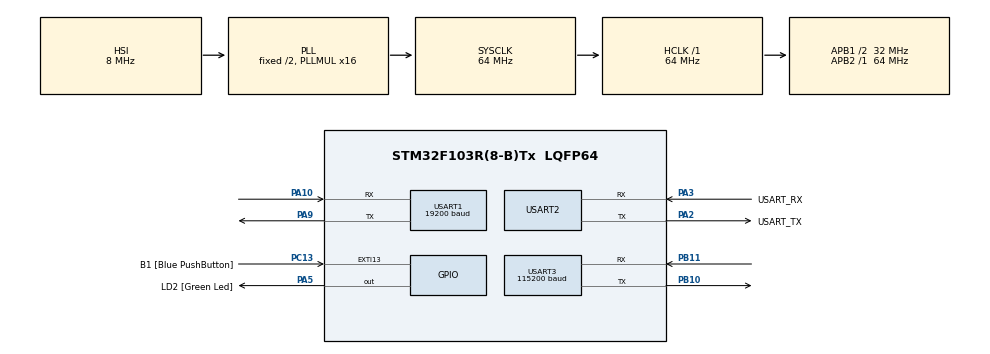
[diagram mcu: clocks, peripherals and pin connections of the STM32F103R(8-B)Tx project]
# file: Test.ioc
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Mcu.Family=STM32F1
Mcu.Name=STM32F103R(8-B)Tx
Mcu.Package=LQFP64
NVIC.EXTI15_10_IRQn=true\:0\:0\:false\:false\:true\:true\:true\:true
NVIC.PriorityGroup=NVIC_PRIORITYGROUP_4
PA10.Mode=Asynchronous
PA10.Signal=USART1_RX
PA13.GPIO_Label=TMS
PA13.Mode=Serial_Wire
PA13.Signal=SYS_JTMS-SWDIO
PA14.GPIO_Label=TCK
PA14.Mode=Serial_Wire
PA14.Signal=SYS_JTCK-SWCLK
PA2.GPIO_Label=USART_TX
PA2.GPIO_Mode=GPIO_MODE_AF_PP
PA2.GPIO_PuPd=GPIO_NOPULL
PA2.GPIO_Speed=GPIO_SPEED_FREQ_LOW
PA2.Mode=Asynchronous
PA2.Signal=USART2_TX
PA3.GPIO_Label=USART_RX
PA3.GPIO_Mode=GPIO_MODE_AF_PP
PA3.GPIO_PuPd=GPIO_NOPULL
PA3.GPIO_Speed=GPIO_SPEED_FREQ_LOW
PA3.Mode=Asynchronous
PA3.Signal=USART2_RX
PA5.GPIO_Label=LD2 [Green Led]
PA5.GPIO_ModeDefaultOutputPP=GPIO_MODE_OUTPUT_PP
PA5.GPIO_PuPd=GPIO_NOPULL
PA5.GPIO_Speed=GPIO_SPEED_FREQ_LOW
PA5.Signal=GPIO_Output
PA9.Mode=Asynchronous
PA9.Signal=USART1_TX
PB10.Mode=Asynchronous
PB10.Signal=USART3_TX
PB11.Mode=Asynchronous
PB11.Signal=USART3_RX
PB3.GPIO_Label=SWO
PB3.Signal=SYS_JTDO-TRACESWO
PC13-TAMPER-RTC.GPIO_Label=B1 [Blue PushButton]
PC13-TAMPER-RTC.GPIO_PuPd=GPIO_NOPULL
PC13-TAMPER-RTC.Signal=GPXTI13
PC14-OSC32_IN.Mode=LSE-External-Oscillator
PC14-OSC32_IN.Signal=RCC_OSC32_IN
PC15-OSC32_OUT.Mode=LSE-External-Oscillator
PC15-OSC32_OUT.Signal=RCC_OSC32_OUT
PD0-OSC_IN.Mode=HSE-External-Clock-Source
PD0-OSC_IN.Signal=RCC_OSC_IN
PD1-OSC_OUT.Mode=HSE-External-Clock-Source
PD1-OSC_OUT.Signal=RCC_OSC_OUT
ProjectManager.HeapSize=0x200
ProjectManager.StackSize=0x400
ProjectManager.TargetToolchain=STM32CubeIDE
RCC.AHBFreq_Value=64000000
RCC.APB1CLKDivider=RCC_HCLK_DIV2
RCC.APB1Freq_Value=32000000
RCC.APB1TimFreq_Value=64000000
RCC.APB2Freq_Value=64000000
RCC.APB2TimFreq_Value=64000000
RCC.HCLKFreq_Value=64000000
RCC.PLLMUL=RCC_PLL_MUL16
RCC.RTCClockSelection=RCC_RTCCLKSOURCE_LSE
RCC.SYSCLKFreq_VALUE=64000000
RCC.SYSCLKSource=RCC_SYSCLKSOURCE_PLLCLK
RCC.USBFreq_Value=64000000
USART1.BaudRate=19200
USART1.VirtualMode=VM_ASYNC
USART2.VirtualMode=VM_ASYNC
USART3.BaudRate=115200
USART3.VirtualMode=VM_ASYNC
board=NUCLEO-F103RB

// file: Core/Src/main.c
/* USER CODE BEGIN Header */
/**
  ******************************************************************************
  \author Dillon Chew Zhi Yuan
  \date 26-3-22
  * @file           : main.c
  * @brief          : Main program body
  ******************************************************************************
  * @attention
  *
  * Copyright (c) 2022 STMicroelectronics.
  * All rights reserved.
  *
  * This software is licensed under terms that can be found in the LICENSE file
  * in the root directory of this software component.
  * If no LICENSE file comes with this software, it is provided AS-IS.
  *
  ******************************************************************************
  */
/* USER CODE END Header */
#include "main.h"

/* USER CODE BEGIN Includes */
#include "structures.h"
/* USER CODE END Includes */

/* USER CODE BEGIN PD */
#define PIXY_TYPE_REPONSE_ERROR 			 0x03
#define PIXY_TYPE_REQUEST_VERSION            0x0e
#define PIXY_TYPE_REQUEST_VERSION            0x0e
#define PIXY_RESULT_OK                       0
#define PIXY_RESULT_ERROR                    -1
#define PIXY_RESULT_BUSY                     -2
#define key									 0xff
#define MAX_SIGNATURE 						 7
#define CAM_X								 158 //centerpoint of the entire frame
#define CAM_Y								 104 //centerpoint of the entire frame
#define commkey                              0x7F
#define header                               0x7A

/* USER CODE END PD */

 UART_HandleTypeDef huart1;
UART_HandleTypeDef huart2;
UART_HandleTypeDef huart3;

/* USER CODE BEGIN PV */
int version[4]; //contains hardware version, major, minor and build
int resolution[2]; //contains width and height

/*struct getVer *Version = &ver1;
struct getRes *Resolution = &res1;*/

/* USER CODE END PV */

void SystemClock_Config(void);
static void MX_GPIO_Init(void);
static void MX_USART2_UART_Init(void);
static void MX_USART3_UART_Init(void);
static void MX_USART1_UART_Init(void);
/* USER CODE BEGIN PFP */
int8_t getVersion();
int8_t getResolution();
int8_t setCameraBrightness(uint8_t brightness);
void getBlocks(uint8_t sigmap, uint8_t maxBlocks);
void Print();
void getDirection(Block blocks);
void Forward(char);
void Reverse(char);
void ForwardDiagLeft(char);
void ForwardDiagRight(char);
void ReverseDiagRight(char);
void ReverseDiagLeft(char);
void Right(char);
void Left(char);
void Stop();
char SetSpeed(int, int);

/* USER CODE END PFP */

int main(void)
{

  /* MCU Configuration--------------------------------------------------------*/

  /* Reset of all peripherals, Initializes the Flash interface and the Systick. */
  HAL_Init();

  /* Configure the system clock */
  SystemClock_Config();

  /* Initialize all configured peripherals */
  MX_GPIO_Init();
  MX_USART2_UART_Init();
  MX_USART3_UART_Init();
  MX_USART1_UART_Init();

  /* Infinite loop */
  /* USER CODE BEGIN WHILE */
  while (1)
  {
	  getBlocks(0x01, 0x01);

	   //getDirection();
	   //Print();

	  //HAL_GPIO_TogglePin(GPIOA, GPIO_PIN_5);
	  //HAL_Delay(500);
    /* USER CODE END WHILE */

  }
}

void SystemClock_Config(void)
{
  RCC_OscInitTypeDef RCC_OscInitStruct = {0};
  RCC_ClkInitTypeDef RCC_ClkInitStruct = {0};

  /** Initializes the RCC Oscillators according to the specified parameters
  * in the RCC_OscInitTypeDef structure.
  */
  RCC_OscInitStruct.OscillatorType = RCC_OSCILLATORTYPE_HSI;
  RCC_OscInitStruct.HSIState = RCC_HSI_ON;
  RCC_OscInitStruct.HSICalibrationValue = RCC_HSICALIBRATION_DEFAULT;
  RCC_OscInitStruct.PLL.PLLState = RCC_PLL_ON;
  RCC_OscInitStruct.PLL.PLLSource = RCC_PLLSOURCE_HSI_DIV2;
  RCC_OscInitStruct.PLL.PLLMUL = RCC_PLL_MUL16;
  if (HAL_RCC_OscConfig(&RCC_OscInitStruct) != HAL_OK)
  {
    Error_Handler();
  }

  /** Initializes the CPU, AHB and APB buses clocks
  */
  RCC_ClkInitStruct.ClockType = RCC_CLOCKTYPE_HCLK|RCC_CLOCKTYPE_SYSCLK
                              |RCC_CLOCKTYPE_PCLK1|RCC_CLOCKTYPE_PCLK2;
  RCC_ClkInitStruct.SYSCLKSource = RCC_SYSCLKSOURCE_PLLCLK;
  RCC_ClkInitStruct.AHBCLKDivider = RCC_SYSCLK_DIV1;
  RCC_ClkInitStruct.APB1CLKDivider = RCC_HCLK_DIV2;
  RCC_ClkInitStruct.APB2CLKDivider = RCC_HCLK_DIV1;

  if (HAL_RCC_ClockConfig(&RCC_ClkInitStruct, FLASH_LATENCY_2) != HAL_OK)
  {
    Error_Handler();
  }
}

static void MX_USART1_UART_Init(void)
{

  huart1.Instance = USART1;
  huart1.Init.BaudRate = 19200;
  huart1.Init.WordLength = UART_WORDLENGTH_8B;
  huart1.Init.StopBits = UART_STOPBITS_1;
  huart1.Init.Parity = UART_PARITY_NONE;
  huart1.Init.Mode = UART_MODE_TX_RX;
  huart1.Init.HwFlowCtl = UART_HWCONTROL_NONE;
  huart1.Init.OverSampling = UART_OVERSAMPLING_16;
  if (HAL_UART_Init(&huart1) != HAL_OK)
  {
    Error_Handler();
  }

}

static void MX_USART2_UART_Init(void)
{

  huart2.Instance = USART2;
  huart2.Init.BaudRate = 115200;
  huart2.Init.WordLength = UART_WORDLENGTH_8B;
  huart2.Init.StopBits = UART_STOPBITS_1;
  huart2.Init.Parity = UART_PARITY_NONE;
  huart2.Init.Mode = UART_MODE_TX_RX;
  huart2.Init.HwFlowCtl = UART_HWCONTROL_NONE;
  huart2.Init.OverSampling = UART_OVERSAMPLING_16;
  if (HAL_UART_Init(&huart2) != HAL_OK)
  {
    Error_Handler();
  }

}

static void MX_USART3_UART_Init(void)
{

  huart3.Instance = USART3;
  huart3.Init.BaudRate = 115200;
  huart3.Init.WordLength = UART_WORDLENGTH_8B;
  huart3.Init.StopBits = UART_STOPBITS_1;
  huart3.Init.Parity = UART_PARITY_NONE;
  huart3.Init.Mode = UART_MODE_TX_RX;
  huart3.Init.HwFlowCtl = UART_HWCONTROL_NONE;
  huart3.Init.OverSampling = UART_OVERSAMPLING_16;
  if (HAL_UART_Init(&huart3) != HAL_OK)
  {
    Error_Handler();
  }

}

static void MX_GPIO_Init(void)
{
  GPIO_InitTypeDef GPIO_InitStruct = {0};

  /* GPIO Ports Clock Enable */
  __HAL_RCC_GPIOC_CLK_ENABLE();
  __HAL_RCC_GPIOD_CLK_ENABLE();
  __HAL_RCC_GPIOA_CLK_ENABLE();
  __HAL_RCC_GPIOB_CLK_ENABLE();

  /*Configure GPIO pin Output Level */
  HAL_GPIO_WritePin(LD2_GPIO_Port, LD2_Pin, GPIO_PIN_RESET);

  /*Configure GPIO pin : B1_Pin */
  GPIO_InitStruct.Pin = B1_Pin;
  GPIO_InitStruct.Mode = GPIO_MODE_IT_RISING;
  GPIO_InitStruct.Pull = GPIO_NOPULL;
  HAL_GPIO_Init(B1_GPIO_Port, &GPIO_InitStruct);

  /*Configure GPIO pin : LD2_Pin */
  GPIO_InitStruct.Pin = LD2_Pin;
  GPIO_InitStruct.Mode = GPIO_MODE_OUTPUT_PP;
  GPIO_InitStruct.Pull = GPIO_NOPULL;
  GPIO_InitStruct.Speed = GPIO_SPEED_FREQ_LOW;
  HAL_GPIO_Init(LD2_GPIO_Port, &GPIO_InitStruct);

  /* EXTI interrupt init*/
  HAL_NVIC_SetPriority(EXTI15_10_IRQn, 0, 0);
  HAL_NVIC_EnableIRQ(EXTI15_10_IRQn);

}

/* USER CODE BEGIN 4 */

/***************************************************************************/
/*!
\brief
- getVersion
  transmits a packet and receives the version details of pixy2

\return
 state of pixy2. Returns OK if packet received is correct, returns ERROR if it is not
*/
/**************************************************************************/
int8_t getVersion(){

	  uint8_t 	tx_pixy2[] = {0xae, 0xc1, 0x0e, 0x00};
	  uint8_t 	rx_pixy2[22];

	  HAL_UART_Transmit(&huart1, (uint8_t *)tx_pixy2, 4, 100);
	  HAL_UART_Receive(&huart1, rx_pixy2, sizeof(rx_pixy2), 100);

	  uint16_t checksum = (rx_pixy2[4] & key) | ((rx_pixy2[5] & key) << 8);
	  int cal_checksum = 0;
	   for (int i=6; i < 22; i++){
		 cal_checksum += rx_pixy2[i];
	   }

	   if(cal_checksum == checksum)
	   {
		  version[0] = (rx_pixy2[6] & key) | ((rx_pixy2[7] & key) << 8);
		  version[1] = rx_pixy2[8];
		  version[2] = rx_pixy2[9];
		  version[3] = (rx_pixy2[10] & key) | ((rx_pixy2[11] & key) << 8);
		  return PIXY_RESULT_OK;
	   }
	   return PIXY_RESULT_ERROR;

}

/***************************************************************************/
/*!
\brief
- getResolution
  transmits a packet and receives the resolution details of pixy2

\return
 state of pixy2. Returns OK if packet received is correct, returns ERROR if it is not
*/
/**************************************************************************/
int8_t getResolution()
{
	uint8_t tx_pixy2[] = {0xae,  0xc1, 0x0c, 0x01, 0x00};
	uint8_t rx_pixy2[22];

	HAL_UART_Transmit(&huart1, (uint8_t *)tx_pixy2, sizeof(tx_pixy2), 100);
	HAL_UART_Receive(&huart1, rx_pixy2, sizeof(rx_pixy2), 100);

	uint16_t res_checksum = (rx_pixy2[4] & key) | ((rx_pixy2[5] & key) << 8);
	int res_cal_checksum = rx_pixy2[6] + rx_pixy2[7] + rx_pixy2[8] + rx_pixy2[9];
	if (res_cal_checksum == res_checksum)
	{
		resolution[0] = (rx_pixy2[6] & key) | ((rx_pixy2[7] & key) << 8);
		resolution[1] = (rx_pixy2[8] & key) | ((rx_pixy2[9] & key) << 8);
		return PIXY_RESULT_OK;
	}
	return PIXY_RESULT_ERROR;

}

/***************************************************************************/
/*!
\brief
- setCameraBrightness
  transmits a packet to set the camera brightness

\return
 state of pixy2. Returns OK if packet received is correct, returns ERROR if it is not
*/
/**************************************************************************/
int8_t setCameraBrightness(uint8_t brightness)
{
	uint8_t tx_pixy2[] = {0xae,  0xc1, 0x10, 0x01, brightness};
	uint8_t rx_pixy2[22];

	HAL_UART_Transmit(&huart1, (uint8_t *)tx_pixy2, sizeof(tx_pixy2), 100);
	HAL_UART_Receive(&huart1, rx_pixy2, sizeof(rx_pixy2), 100);

 	uint16_t camera_checksum = (rx_pixy2[4] & key) | ((rx_pixy2[5] & key) << 8);
 	uint32_t result = rx_pixy2[6] + rx_pixy2[7] + rx_pixy2[8] + rx_pixy2[9];
 	if (camera_checksum == result){
 		return PIXY_RESULT_OK;
 	}
 	return PIXY_RESULT_ERROR;

}

/***************************************************************************/
/*!
\brief
- getBlocks
  transmits a packet and receives the information of the block

\return
 state of pixy2. Returns OK if packet received is correct, returns ERROR if it is not
*/
/**************************************************************************/
void getBlocks(uint8_t sigmap, uint8_t maxBlocks)
{
	uint8_t tx_pixy2[] = {0xae, 0xc1, 0x20, 0x02, sigmap, maxBlocks};
	uint8_t rx_pixy2[255];
	Block blocks;

	HAL_UART_Transmit(&huart1, (uint8_t *)tx_pixy2, sizeof(tx_pixy2), 100);
	HAL_UART_Receive(&huart1, rx_pixy2, sizeof(rx_pixy2), 100);
	uint16_t checksum = (rx_pixy2[4] & key) | ((rx_pixy2[5] & key) << 8);
	int cal_checksum = 0;

	int array_size = rx_pixy2[3];

	for(int i = 6; i < array_size+6; i++)
	{
		cal_checksum += rx_pixy2[i];
	}

	if (cal_checksum == checksum)
	{
		if (cal_checksum == 0 )
		{
			Stop();
		}
		else {
			blocks.signature = (rx_pixy2[6] & key) | ((rx_pixy2[7] & key) << 8);
			blocks.x = (rx_pixy2[8] & key) | ((rx_pixy2[9] & key) << 8);
			blocks.y = (rx_pixy2[10] & key) | ((rx_pixy2[11] & key) << 8);
			blocks.width = (rx_pixy2[12] & key) | ((rx_pixy2[13] & key) << 8);
			blocks.height = (rx_pixy2[14] & key) | ((rx_pixy2[15] & key) << 8);
			blocks.angle = (rx_pixy2[16] & key) | ((rx_pixy2[17] & key) << 8);
			blocks.index = rx_pixy2[18];
			blocks.age = rx_pixy2[19];
			getDirection(blocks);
		}

	}
}
/*void Print(){
	char strbuff[255];
	int strbufflen = sprintf(strbuff, "signature: %d\r\n""x: %d\r\n""y: %d\r\n""width: %d\r\n""height: %d\r\n""angle: %d\r\n""index: %d\r\n""age: %d\r\n",
			blocks->signature,blocks->x,blocks->y,blocks->width,blocks->height,blocks->angle,blocks->index,blocks->age);
	HAL_UART_Transmit(&huart2, (uint8_t *)strbuff, strbufflen, 100);
}*/

/***************************************************************************/
/*!
\brief
- getDirection
  transmit a direction based on the area and coordinates of a block
*/
/**************************************************************************/
void getDirection(Block blocks)
{
	int x = (int) blocks.x; // x center of the block
	int y = (int) blocks.y; // y center of the block

	int area = (int) blocks.width * (int) blocks.height; //area of the block
	int area_sz = 100*60; //area to determine if block is too close
	char speed = SetSpeed(area, area_sz);

	if(x < 178 && x > 138) //if x center of block is within the middle section of the frame
	{
		area<=area_sz ? Forward(speed) : Reverse(speed);
	}
	if (x >= 178) //if x center of block is within the right section of the frame
	{
		if (y > 89 && y < 119)
		{
			area <= area_sz ? Right(speed) : ReverseDiagRight(speed);
		}
		if (y >= 119)
		{
			area <= area_sz ? ForwardDiagRight(speed) : ReverseDiagRight(speed);
		}
		if (y <= 89)
		{
			area <= area_sz ? ForwardDiagRight(speed) : ReverseDiagRight(speed);
		}
	}
	if (x <= 138) //if x center of block is within the left section of the frame
	{
		if (y > 89 && y < 119)
		{
			area <= area_sz ? Left(speed) : ReverseDiagLeft(speed);
		}
		if (y >= 119)
		{
			area <= area_sz ? ForwardDiagLeft(speed) : ReverseDiagLeft(speed);
		}
		if (y <= 89)
		{
			area <= area_sz ? ForwardDiagLeft(speed) : ReverseDiagLeft(speed);
		}
	}

}
void Forward(char speed) //transmit hex key for forward
{
	char direction = 0x01;
	char checksum = (direction ^ speed ) ^ commkey;
	char tmp[4] = {header, direction, speed, checksum};
	char temp[1];
	for (int i=0; i < 4; ++i)
	{
		temp[0] = tmp[i];
		HAL_UART_Transmit(&huart3, (uint8_t *)temp,sizeof(temp),100);
	}
}
void Reverse(char speed) //transmit hex key for reverse
{
	char direction = 0x02;
	char checksum = direction ^ speed ^ commkey;
	char tmp[4] = {header, direction, speed, checksum};
	char temp[1];
	for (int i=0; i < 4; ++i)
	{
		temp[0] = tmp[i];
		HAL_UART_Transmit(&huart3, (uint8_t *)temp,sizeof(temp),100);
	}
}
void ForwardDiagLeft(char speed) //transmit hex key for forward diagonal left
{
	char direction = 0x03;
	char checksum = direction ^ speed ^ commkey;
	char tmp[4] = {header, direction, speed, checksum};
	char temp[1];
	for (int i=0; i < 4; ++i)
	{
		temp[0] = tmp[i];
		HAL_UART_Transmit(&huart3, (uint8_t *)temp,sizeof(temp),100);
	}
}
void ReverseDiagRight(char speed) //transmit hex key for reverse diagonal right
{
	char direction = 0x04;
	char checksum = direction ^ speed ^ commkey;
	char tmp[4] = {header, direction, speed, checksum};
	char temp[1];
	for (int i=0; i < 4; ++i)
	{
		temp[0] = tmp[i];
		HAL_UART_Transmit(&huart3, (uint8_t *)temp,sizeof(temp),100);
	}
}
void ForwardDiagRight(char speed) //transmit hex key for forward diagonal right
{
	char direction = 0x05;
	char checksum = direction ^ speed ^ commkey;
	char tmp[4] = {header, direction, speed, checksum};
	char temp[1];
	for (int i=0; i < 4; ++i)
	{
		temp[0] = tmp[i];
		HAL_UART_Transmit(&huart3, (uint8_t *)temp,sizeof(temp),100);
	}
}

void ReverseDiagLeft(char speed) //transmit hex key for reverse diagonal left
{
	char direction = 0x06;
	char checksum = direction ^ speed ^ commkey;
	char tmp[4] = {header, direction, speed, checksum};
	char temp[1];
	for (int i=0; i < 4; ++i)
	{
		temp[0] = tmp[i];
		HAL_UART_Transmit(&huart3, (uint8_t *)temp,sizeof(temp),100);
	}
}

void Right(char speed) //transmit hex key for right
{
	char direction = 0x07;
	char checksum = direction ^ speed ^ commkey;
	char tmp[4] = {header, direction, speed, checksum};
	char temp[1];
	for (int i=0; i < 4; ++i)
	{
		temp[0] = tmp[i];
		HAL_UART_Transmit(&huart3, (uint8_t *)temp,sizeof(temp),100);
	}
}
void Left(char speed) //transmit hex key for left
{
	char direction = 0x08;
	char checksum = direction ^ speed ^ commkey;
	char tmp[4] = {header, direction, speed, checksum};
	char temp[1];
	for (int i=0; i < 4; ++i)
	{
		temp[0] = tmp[i];
		HAL_UART_Transmit(&huart3, (uint8_t *)temp,sizeof(temp),100);
	}
}
void Stop() //transmit hex key for stop
{
	char direction = 0x09;
	char speed = 0x00;
	char checksum = direction ^ speed ^ commkey;
	char tmp[4] = {header, direction, speed, checksum};
	char temp[1];
	for (int i=0; i < 4; ++i)
	{
		temp[0] = tmp[i];
		HAL_UART_Transmit(&huart3, (uint8_t *)temp,sizeof(temp),100);
	}
}

char SetSpeed(int block_area, int max_block_size) //speed setting based on how close the object is
{
	float frame = 30000;
	char speed;
	float ratio = 25000;
	if (block_area > max_block_size)
	{
		if (block_area > frame)
		{
			speed = 0x00;
		}
		else
		{
			speed = (0x28/ratio) * (block_area);
		}
	}
	else
	{
		speed = (0x28 - ((0x28/(float)max_block_size) * block_area));
	}
	return speed;
}

/* USER CODE END 4 */

void Error_Handler(void)
{
  __disable_irq();
  while (1)
  {
  }
}
